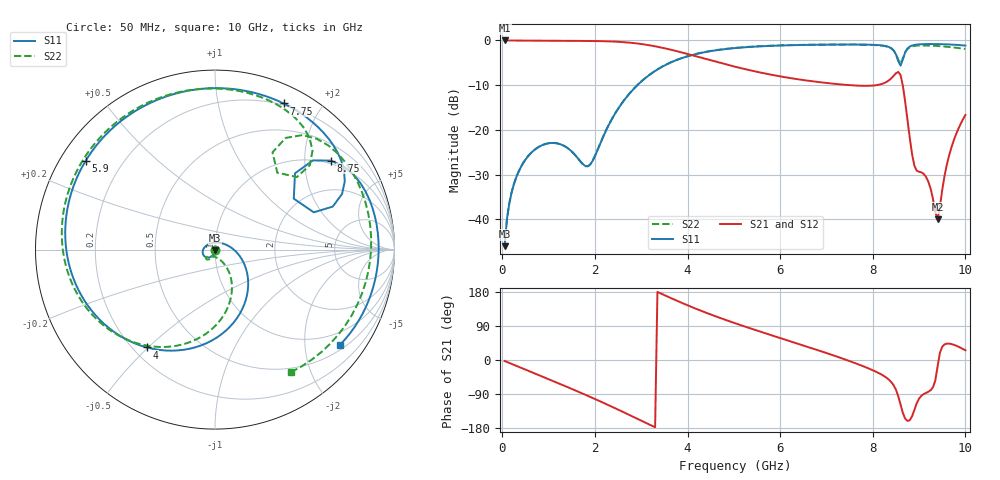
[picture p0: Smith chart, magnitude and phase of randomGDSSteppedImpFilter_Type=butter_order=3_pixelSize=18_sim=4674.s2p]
! freq	dB(S11)	phase(S11)	dB(S12)	phase(S12)
!  dB(S21)	phase(S21)	dB(S22)	phase(S22)
!S-par simulation data
#  GHz  S  DB  R 50
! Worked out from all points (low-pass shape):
!   200 points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, 50 MHz to 10 GHz, reference 50 ohm
!   highest |S21| = 0.00 dB at 50 MHz (marker M1); lowest = -40.0 dB at 9.4 GHz (marker M2)
!   |S21| within 3 dB of the highest: start of sweep to 3.991 GHz
!   lowest |S11| = -46.0 dB at 50 MHz (marker M3), VSWR 1.01, Z = 50 - j0.5 ohm
!   |S11| at or under -10 dB: start of sweep to 2.918 GHz
!   |S22| runs from -46.0 to -0.9 dB; largest |S21 - S12| = 0
!   S11 on the Smith chart (normalised r, x): 50 MHz: 1.00, -0.01; 4 GHz: 0.25, -0.49; 5.9 GHz: 0.07, +0.31; 7.75 GHz: 0.18, +1.56; 8.75 GHz: 0.91, +2.67; 10 GHz: 0.63, -2.85
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0.05  -46.01 -92.2  -0.00 -2.6  -0.00 -2.6  -46.00 -91.3
0.15  -36.51 -98.6  -0.02 -7.7  -0.02 -7.7  -36.49 -95.9
0.25  -32.16 -104.7  -0.02 -12.7  -0.02 -12.7  -32.15 -100.3
0.6  -25.39 -126.2  -0.05 -30.4  -0.05 -30.4  -25.37 -115.0
1.2  -23.06 -167.5  -0.09 -60.8  -0.09 -60.8  -23.05 -135.5
1.75  -27.76 117.9  -0.11 -89.4  -0.11 -89.4  -27.77 -118.0
2.7  -12.46 -40.0  -0.45 -142.5  -0.45 -142.5  -12.41 -66.8
3.4  -6.19 -88.8  -1.52 176.8  -1.52 176.8  -6.15 -99.1
4  -3.55 -124.9  -3.03 144.4  -3.03 144.4  -3.51 -127.6
5.05  -1.68 -177.5  -5.94 96.0  -5.94 96.0  -1.64 -170.4
5.9  -1.17 145.5  -7.85 61.9  -7.85 61.9  -1.14 159.4
6.7  -0.97 111.7  -9.14 30.5  -9.14 30.5  -0.95 131.1
7.75  -0.92 64.8  -10.14 -14.4  -10.14 -14.4  -0.94 88.4
8.35  -1.48 31.6  -8.92 -52.1  -8.92 -52.1  -1.52 53.8
8.5  -3.12 20.1  -7.35 -78.3  -7.35 -78.3  -3.00 41.7
8.6  -5.63 32.9  -7.75 -117.8  -7.75 -117.8  -5.17 51.0
8.75  -1.79 37.6  -17.80 -160.8  -17.80 -160.8  -1.91 52.6
8.9  -1.00 24.6  -28.06 -131.2  -28.06 -131.2  -1.22 37.9
9.2  -0.80 5.9  -31.59 -83.8  -31.59 -83.8  -1.14 13.0
9.4  -0.81 -5.1  -40.02 -16.6  -40.02 -16.6  -1.24 -3.6
9.65  -0.90 -18.5  -25.66 43.2  -25.66 43.2  -1.46 -25.5
10  -1.15 -37.1  -16.67 25.6  -16.67 25.6  -1.90 -58.4
